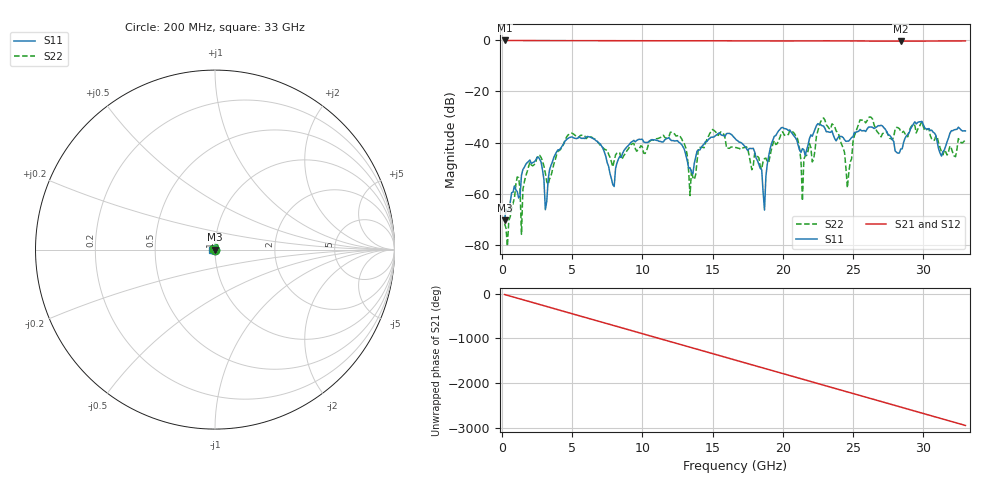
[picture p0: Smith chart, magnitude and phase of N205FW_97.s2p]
# GHZ S RI R 50
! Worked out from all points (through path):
!   329 points, 200 MHz to 33 GHz, reference 50 ohm
!   highest |S21| = -0.02 dB at 200 MHz (marker M1); lowest = -0.3 dB at 28.4 GHz (marker M2)
!   group delay of S21, straight-line fit = 248 ps
!   lowest |S11| = -70.4 dB at 200 MHz (marker M3), VSWR 1.00, Z = 50 + j0.00618 ohm
!   |S11| at or under -10 dB: start of sweep to end of sweep
!   |S22| runs from -80.6 to -30.0 dB; largest |S21 - S12| = 0.0022
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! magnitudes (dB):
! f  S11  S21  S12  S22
! 200 MHz  -70.4  0.0  0.0  -71.8
! 1.8 GHz  -47.9  -0.1  -0.1  -51.5
! 5.7 GHz  -38.4  -0.1  -0.1  -37.1
! 8 GHz  -57.3  -0.1  -0.1  -47.2
! 11.2 GHz  -39.5  -0.2  -0.2  -38.2
! 12.8 GHz  -40.8  -0.1  -0.1  -38.5
! 13.4 GHz  -49.9  -0.1  -0.1  -60.8
! 15 GHz  -37.9  -0.1  -0.1  -34.9
! 16.6 GHz  -38.4  -0.2  -0.2  -41.9
! 17.9 GHz  -42.2  -0.2  -0.2  -49.1
! 18.7 GHz  -66.5  -0.2  -0.2  -46.3
! 19.4 GHz  -37.5  -0.2  -0.2  -39.2
! 21 GHz  -39.0  -0.2  -0.2  -37.6
! 21.4 GHz  -42.4  -0.2  -0.2  -62.8
! 21.5 GHz  -42.8  -0.2  -0.2  -46.5
! 22.1 GHz  -37.6  -0.2  -0.2  -47.6
! 22.9 GHz  -33.5  -0.2  -0.2  -30.4
! 24.6 GHz  -39.4  -0.2  -0.2  -57.7
! 25.5 GHz  -34.9  -0.2  -0.2  -31.1
! 27.6 GHz  -37.1  -0.3  -0.3  -38.3
! 28.4 GHz  -42.5  -0.3  -0.3  -35.7
! 33 GHz  -35.5  -0.2  -0.2  -38.9
